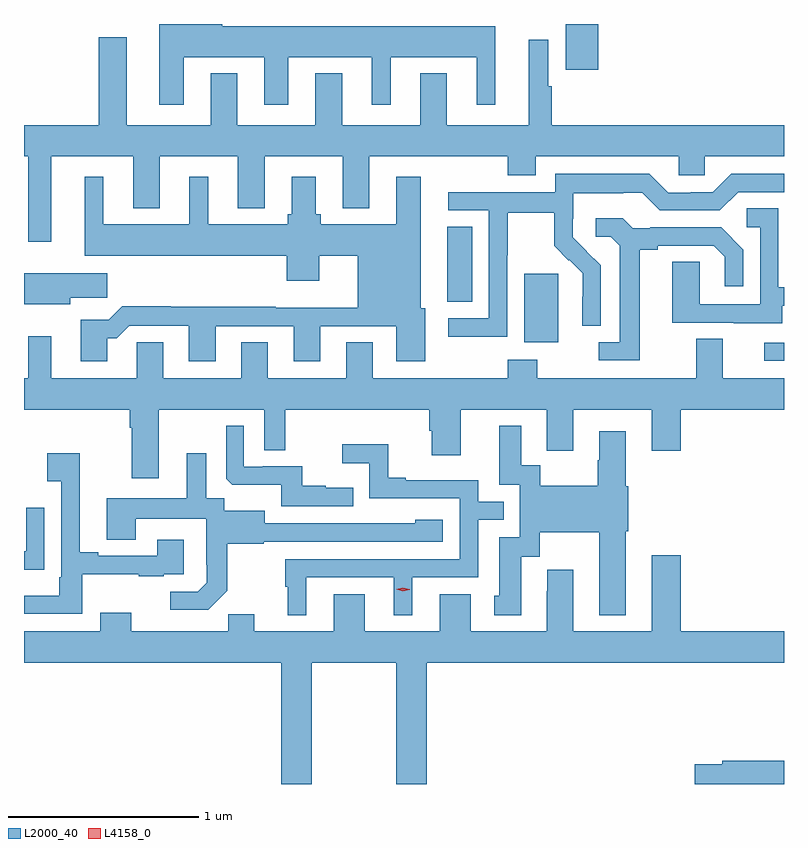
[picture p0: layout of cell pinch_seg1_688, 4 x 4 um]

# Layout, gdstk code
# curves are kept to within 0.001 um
import gdstk
lib = gdstk.Library(unit=1e-6, precision=1e-09)
def R(c, l, rs):  # rectangles x0, y0, x1, y1
    for r in rs: c.add(gdstk.rectangle(r[:2], r[2:], *l))
def P(c, l, *ps):  # polygons
    for p in ps: c.add(gdstk.Polygon(p, *l))
L2000_40 = (2000, 40)
L4158_0 = (4158, 0)

pinch_seg1_688 = lib.new_cell('pinch_seg1_688')
R(pinch_seg1_688, L2000_40, [(746.673,545.328,746.777,545.424), (745.409,545.426,745.588,545.787), (745.004,545.638,745.135,546.035), (745.628,546.861,745.799,547.101)])
P(pinch_seg1_688, L2000_40, [(743.617,546.926),(744.041,546.926),(744.041,546.675),(744.169,546.675),(744.169,546.926),(744.608,546.926),(744.608,546.675),(744.706,546.675),(744.706,546.926),(745.16,546.926),(745.16,546.675),(745.258,546.675),(745.258,547.09),(743.821,547.09),(743.821,547.101),(743.489,547.101),(743.489,546.675),(743.617,546.675)],
  [(742.921,546.404),(743.351,546.404),(743.351,546.131),(743.491,546.131),(743.491,546.404),(743.903,546.404),(743.903,546.131),(744.043,546.131),(744.043,546.404),(744.455,546.404),(744.455,546.131),(744.595,546.131),(744.595,546.404),(745.324,546.404),(745.324,546.305),(745.471,546.305),(745.471,546.404),(746.223,546.404),(746.223,546.306),(746.361,546.306),(746.361,546.404),(746.777,546.404),(746.777,546.568),(745.555,546.568),(745.555,546.773),(745.537,546.773),(745.537,547.018),(745.433,547.018),(745.433,546.568),(745.003,546.568),(745.003,546.841),(744.863,546.841),(744.863,546.568),(744.451,546.568),(744.451,546.841),(744.311,546.841),(744.311,546.568),(743.899,546.568),(743.899,546.841),(743.759,546.841),(743.759,546.568),(743.317,546.568),(743.317,547.03),(743.17,547.03),(743.17,546.568),(742.777,546.568),(742.777,546.404),(742.8,546.404),(742.8,545.955),(742.921,545.955)],
  [(745.32,545.884),(745.323,545.884),(745.323,546.108),(745.567,546.108),(745.567,545.933),(745.644,545.856),(745.647,545.859),(745.718,545.789),(745.718,545.666),(745.716,545.666),(745.716,545.512),(745.812,545.512),(745.812,545.83),(745.666,545.978),(745.666,546.075),(745.668,546.075),(745.668,546.209),(745.931,546.209),(745.931,546.213),(746.031,546.213),(746.124,546.12),(746.439,546.12),(746.535,546.216),(746.777,546.216),(746.777,546.312),(746.499,546.312),(746.403,546.216),(746.285,546.216),(746.285,546.213),(746.169,546.213),(746.069,546.313),(745.572,546.313),(745.572,546.216),(745.011,546.216),(745.011,546.12),(745.224,546.12),(745.224,545.553),(745.011,545.553),(745.011,545.455),(745.32,545.455)],
  [(743.215,545.447),(743.264,545.447),(743.331,545.514),(743.645,545.514),(743.645,545.325),(743.785,545.325),(743.785,545.511),(744.197,545.511),(744.197,545.325),(744.337,545.325),(744.337,545.511),(744.737,545.511),(744.737,545.325),(744.889,545.325),(744.889,545.604),(744.865,545.604),(744.865,546.298),(744.737,546.298),(744.737,546.046),(744.339,546.046),(744.339,546.099),(744.313,546.099),(744.313,546.298),(744.185,546.298),(744.185,546.099),(744.166,546.099),(744.166,546.046),(743.746,546.046),(743.746,546.298),(743.648,546.298),(743.648,546.046),(743.194,546.046),(743.194,546.298),(743.096,546.298),(743.096,545.882),(744.161,545.882),(744.161,545.751),(744.331,545.751),(744.331,545.882),(744.533,545.882),(744.533,545.608),(744.101,545.608),(744.101,545.612),(743.549,545.612),(743.549,545.615),(743.294,545.615),(743.224,545.545),(743.075,545.545),(743.075,545.325),(743.215,545.325)],
  [(746.767,545.619),(746.777,545.619),(746.777,545.715),(746.748,545.715),(746.748,546.131),(746.58,546.131),(746.58,546.03),(746.652,546.03),(746.652,545.625),(746.334,545.625),(746.334,545.849),(746.189,545.849),(746.189,545.529),(746.513,545.529),(746.513,545.525),(746.767,545.525)],
  [(746.017,545.912),(746.113,545.912),(746.113,545.934),(746.408,545.934),(746.465,545.877),(746.465,545.721),(746.562,545.721),(746.562,545.914),(746.446,546.03),(746.074,546.03),(746.074,546.027),(745.98,546.027),(745.928,546.079),(745.785,546.079),(745.785,545.982),(745.866,545.982),(745.913,545.935),(745.913,545.427),(745.803,545.427),(745.803,545.331),(746.017,545.331)],
  [(743.02,545.659),(743.215,545.659),(743.215,545.788),(742.777,545.788),(742.777,545.627),(743.02,545.627)],
  [(746.315,545.444),(746.315,545.236),(745.479,545.236),(745.479,545.335),(745.324,545.335),(745.324,545.236),(744.613,545.236),(744.613,545.426),(744.473,545.426),(744.473,545.236),(744.061,545.236),(744.061,545.426),(743.921,545.426),(743.921,545.236),(743.509,545.236),(743.509,545.426),(743.37,545.426),(743.37,545.236),(742.921,545.236),(742.921,545.458),(742.8,545.458),(742.8,545.236),(742.777,545.236),(742.777,545.072),(743.333,545.072),(743.333,544.976),(743.345,544.976),(743.345,544.71),(743.485,544.71),(743.485,545.072),(744.042,545.072),(744.042,544.858),(744.151,544.858),(744.151,545.072),(744.911,545.072),(744.911,544.959),(744.923,544.959),(744.923,544.83),(745.075,544.83),(745.075,545.072),(745.529,545.072),(745.529,544.854),(745.669,544.854),(745.669,545.072),(746.081,545.072),(746.081,544.854),(746.234,544.854),(746.234,545.072),(746.777,545.072),(746.777,545.236),(746.455,545.236),(746.455,545.444)],
  [(745.945,544.431),(745.958,544.431),(745.958,544.668),(745.945,544.668),(745.945,544.957),(745.805,544.957),(745.805,544.806),(745.798,544.806),(745.798,544.672),(745.495,544.672),(745.495,544.778),(745.393,544.778),(745.393,544.987),(745.277,544.987),(745.277,544.677),(745.386,544.677),(745.386,544.401),(745.277,544.401),(745.277,544.092),(745.253,544.092),(745.253,543.99),(745.393,543.99),(745.393,544.298),(745.491,544.298),(745.491,544.427),(745.805,544.427),(745.805,543.989),(745.945,543.989)],
  [(744.509,544.66),(744.365,544.66),(744.365,544.672),(744.242,544.672),(744.242,544.773),(744.034,544.773),(744.034,544.77),(743.934,544.77),(743.934,544.987),(743.841,544.987),(743.841,544.707),(743.873,544.676),(744.132,544.676),(744.132,544.563),(744.509,544.563)],
  [(744.262,544.188),(744.722,544.188),(744.722,543.989),(744.82,543.989),(744.82,544.188),(745.167,544.188),(745.167,544.491),(745.301,544.491),(745.301,544.587),(745.167,544.587),(745.167,544.701),(744.787,544.701),(744.787,544.714),(744.693,544.714),(744.693,544.889),(744.453,544.889),(744.453,544.79),(744.594,544.79),(744.594,544.605),(745.071,544.605),(745.071,544.284),(744.153,544.284),(744.153,544.14),(744.164,544.14),(744.164,543.989),(744.262,543.989)],
  [(743.847,544.119),(743.847,544.365),(744.039,544.365),(744.039,544.377),(744.982,544.377),(744.982,544.492),(744.837,544.492),(744.837,544.474),(744.043,544.473),(744.043,544.54),(743.832,544.54),(743.832,544.604),(743.737,544.604),(743.737,544.843),(743.633,544.843),(743.633,544.606),(743.213,544.606),(743.213,544.387),(743.365,544.387),(743.365,544.496),(743.736,544.496),(743.736,544.255),(743.738,544.255),(743.738,544.16),(743.691,544.113),(743.547,544.113),(743.547,544.019),(743.747,544.019)],
  [(743.083,544.205),(743.381,544.205),(743.381,544.194),(743.513,544.194),(743.513,544.206),(743.617,544.206),(743.617,544.387),(743.477,544.387),(743.477,544.302),(743.167,544.302),(743.167,544.321),(743.071,544.321),(743.071,544.843),(742.899,544.843),(742.899,544.694),(742.974,544.694),(742.974,544.189),(742.962,544.189),(742.962,544.093),(742.777,544.093),(742.777,543.996),(743.083,543.996)],
  [(742.884,544.555),(742.788,544.555),(742.788,544.326),(742.777,544.326),(742.777,544.229),(742.884,544.229)],
  [(744.291,543.74),(744.736,543.74),(744.736,543.101),(744.896,543.101),(744.896,543.74),(746.777,543.74),(746.777,543.904),(746.234,543.904),(746.234,544.306),(746.081,544.306),(746.081,543.904),(745.669,543.904),(745.669,544.228),(745.532,544.228),(745.532,544.115),(745.529,544.115),(745.529,543.904),(745.129,543.904),(745.129,544.099),(744.965,544.099),(744.965,543.904),(744.571,543.904),(744.571,544.099),(744.407,544.099),(744.407,543.904),(743.989,543.904),(743.989,543.995),(743.851,543.995),(743.851,543.904),(743.341,543.904),(743.341,544.003),(743.177,544.003),(743.177,543.904),(742.777,543.904),(742.777,543.74),(744.131,543.74),(744.131,543.101),(744.291,543.101)],
  [(746.777,543.224),(746.452,543.224),(746.452,543.204),(746.306,543.204),(746.306,543.101),(746.777,543.101)])
P(pinch_seg1_688, L4158_0, [(744.771,544.116),(744.735,544.126),(744.735,544.127),(744.735,544.127),(744.771,544.135),(744.807,544.125),(744.807,544.124),(744.807,544.124)])

lib.write_gds('pinch_seg1_688.gds')
